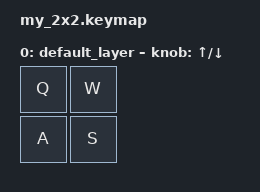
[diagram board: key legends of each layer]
#include <behaviors.dtsi>
#include <dt-bindings/zmk/keys.h>

/ {
    keymap {
        compatible = "zmk,keymap";

        default_layer {
            bindings = <
                &kp Q  &kp W
                &kp A  &kp S
            >;

            sensor-bindings = <&inc_dec_kp UP DOWN>;
        };
    };
};
